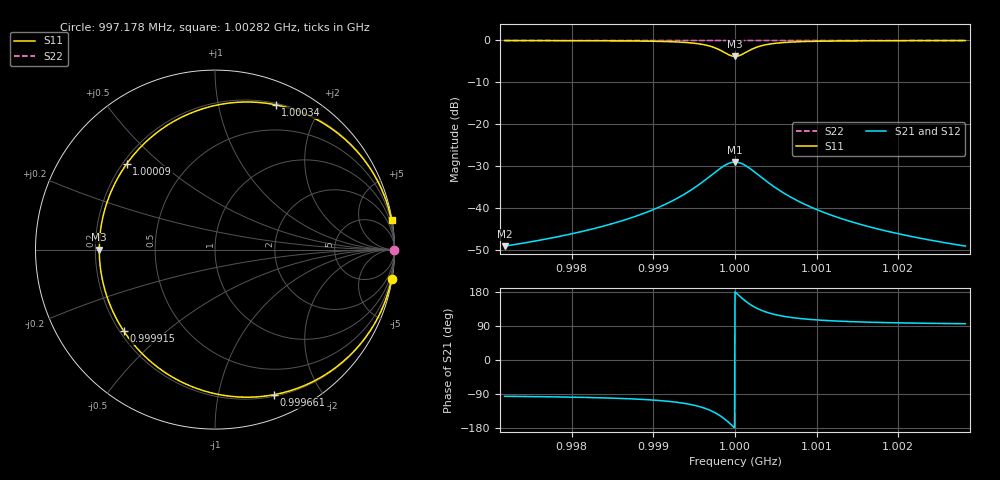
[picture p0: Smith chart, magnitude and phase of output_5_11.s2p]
! File generated for n1 = 5, n2 = 11
! b1 = 4.641589
! b2 = 0.002154
! Q0 = 10000.000000
! f0 = 1000000000.000000
! n = 1001
! rel_span = 10.000000
# Hz S RI R 50
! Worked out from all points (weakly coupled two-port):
!   1001 points, 997.178 MHz to 1.00282 GHz, reference 50 ohm
!   highest |S21| = -29.01 dB at 1 GHz (marker M1); lowest = -49.1 dB at 997.178 MHz (marker M2)
!   lowest |S11| = -3.8 dB at 1 GHz (marker M3), VSWR 4.63, Z = 10.8 + j0 ohm
!   |S11| at or under -10 dB: nowhere
!   |S22| runs from 0.0 to 0.0 dB; largest |S21 - S12| = 0
!   S11 on the Smith chart (normalised r, x): 997.178 MHz: 0, -12; 999.661 MHz: 0.22, -1.46; 999.915 MHz: 0.22, -0.36; 1.00009 GHz: 0.22, +0.39; 1.00034 GHz: 0.22, +1.48; 1.00282 GHz: 0, +12
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9.971781e8  0.9838 -0.1626  -0.00035 -0.0035  -0.00035 -0.0035  1 -7.55e-05
9.981206e8  0.9638 -0.2413  -0.00078 -0.0052  -0.00078 -0.0052  1 -0.000112
9.986568e8  0.9306 -0.3307  -0.0015 -0.00713  -0.0015 -0.00713  1 -0.000154
9.990631e8  0.8633 -0.4541  -0.00295 -0.00978  -0.00295 -0.00978  0.9999 -0.000211
9.994243e8  0.6815 -0.65  -0.00686 -0.014  -0.00686 -0.014  0.9999 -0.000302
9.995541e8  0.5297 -0.7432  -0.0101 -0.016  -0.0101 -0.016  0.9998 -0.000345
9.996614e8  0.326 -0.8089  -0.0145 -0.0174  -0.0145 -0.0174  0.9997 -0.000375
9.998025e8  -0.1039 -0.7728  -0.0238 -0.0166  -0.0238 -0.0166  0.9995 -0.000359
9.998589e8  -0.3159 -0.658  -0.0283 -0.0142  -0.0283 -0.0142  0.9994 -0.000305
9.999153e8  -0.509 -0.4527  -0.0325 -0.00975  -0.0325 -0.00975  0.9993 -0.00021
1e9  -0.6449 0  -0.0354 0  -0.0354 0  0.9992 0
1.000045e9  -0.6038 0.2566  -0.0346 0.00553  -0.0346 0.00553  0.9993 0.000119
1.00009e9  -0.4921 0.4774  -0.0321 0.0103  -0.0321 0.0103  0.9993 0.000222
1.000141e9  -0.3159 0.6579  -0.0284 0.0142  -0.0284 0.0142  0.9994 0.000305
1.000198e9  -0.104 0.7727  -0.0238 0.0166  -0.0238 0.0166  0.9995 0.000359
1.00026e9  0.109 0.8196  -0.0192 0.0177  -0.0192 0.0177  0.9996 0.00038
1.000344e9  0.3389 0.8065  -0.0142 0.0174  -0.0142 0.0174  0.9997 0.000374
1.000451e9  0.5378 0.7393  -0.00996 0.0159  -0.00996 0.0159  0.9998 0.000343
1.000581e9  0.6862 0.6463  -0.00676 0.0139  -0.00676 0.0139  0.9999 0.0003
1.000943e9  0.8646 0.4521  -0.00292 0.00974  -0.00292 0.00974  0.9999 0.00021
1.001885e9  0.9639 0.2411  -0.000778 0.00519  -0.000778 0.00519  1 0.000112
1.002822e9  0.9837 0.1631  -0.000352 0.00351  -0.000352 0.00351  1 7.57e-05
